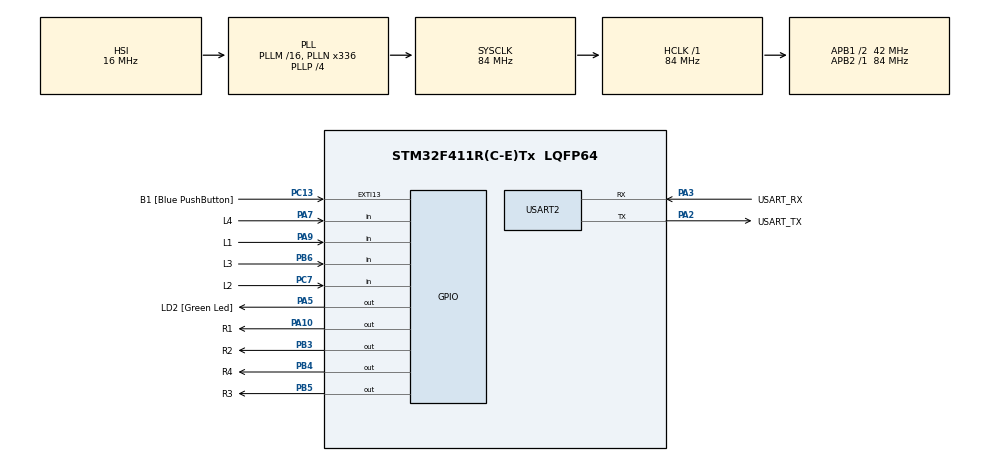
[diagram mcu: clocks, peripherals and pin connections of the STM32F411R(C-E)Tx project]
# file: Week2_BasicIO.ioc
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Mcu.Family=STM32F4
Mcu.Name=STM32F411R(C-E)Tx
Mcu.Package=LQFP64
NVIC.PriorityGroup=NVIC_PRIORITYGROUP_0
PA10.GPIO_Label=R1
PA10.GPIO_ModeDefaultOutputPP=GPIO_MODE_OUTPUT_OD
PA10.GPIO_PuPd=GPIO_NOPULL
PA10.PinState=GPIO_PIN_SET
PA10.Signal=GPIO_Output
PA13.GPIO_Label=TMS
PA13.Mode=Serial_Wire
PA13.Signal=SYS_JTMS-SWDIO
PA14.GPIO_Label=TCK
PA14.Mode=Serial_Wire
PA14.Signal=SYS_JTCK-SWCLK
PA2.GPIO_Label=USART_TX
PA2.Mode=Asynchronous
PA2.Signal=USART2_TX
PA3.GPIO_Label=USART_RX
PA3.Mode=Asynchronous
PA3.Signal=USART2_RX
PA5.GPIO_Label=LD2 [Green Led]
PA5.Signal=GPIO_Output
PA7.GPIO_Label=L4
PA7.GPIO_PuPd=GPIO_PULLUP
PA7.Signal=GPIO_Input
PA9.GPIO_Label=L1
PA9.GPIO_PuPd=GPIO_PULLUP
PA9.Signal=GPIO_Input
PB3.GPIO_Label=R2
PB3.GPIO_ModeDefaultOutputPP=GPIO_MODE_OUTPUT_OD
PB3.GPIO_PuPd=GPIO_NOPULL
PB3.PinState=GPIO_PIN_SET
PB3.Signal=GPIO_Output
PB4.GPIO_Label=R4
PB4.GPIO_ModeDefaultOutputPP=GPIO_MODE_OUTPUT_OD
PB4.GPIO_PuPd=GPIO_NOPULL
PB4.PinState=GPIO_PIN_SET
PB4.Signal=GPIO_Output
PB5.GPIO_Label=R3
PB5.GPIO_ModeDefaultOutputPP=GPIO_MODE_OUTPUT_OD
PB5.GPIO_PuPd=GPIO_NOPULL
PB5.PinState=GPIO_PIN_SET
PB5.Signal=GPIO_Output
PB6.GPIO_Label=L3
PB6.GPIO_PuPd=GPIO_PULLUP
PB6.Signal=GPIO_Input
PC13-ANTI_TAMP.GPIO_Label=B1 [Blue PushButton]
PC13-ANTI_TAMP.GPIO_ModeDefaultEXTI=GPIO_MODE_IT_FALLING
PC13-ANTI_TAMP.Signal=GPXTI13
PC14-OSC32_IN.Mode=LSE-External-Oscillator
PC14-OSC32_IN.Signal=RCC_OSC32_IN
PC15-OSC32_OUT.Mode=LSE-External-Oscillator
PC15-OSC32_OUT.Signal=RCC_OSC32_OUT
PC7.GPIO_Label=L2
PC7.GPIO_PuPd=GPIO_PULLUP
PC7.Signal=GPIO_Input
PH0\ -\ OSC_IN.Mode=HSE-External-Clock-Source
PH0\ -\ OSC_IN.Signal=RCC_OSC_IN
PH1\ -\ OSC_OUT.Mode=HSE-External-Clock-Source
PH1\ -\ OSC_OUT.Signal=RCC_OSC_OUT
ProjectManager.HeapSize=0x200
ProjectManager.StackSize=0x400
ProjectManager.TargetToolchain=STM32CubeIDE
RCC.48MHZClocksFreq_Value=84000000
RCC.AHBFreq_Value=84000000
RCC.APB1CLKDivider=RCC_HCLK_DIV2
RCC.APB1Freq_Value=42000000
RCC.APB1TimFreq_Value=84000000
RCC.APB2Freq_Value=84000000
RCC.APB2TimFreq_Value=84000000
RCC.CortexFreq_Value=84000000
RCC.FLatency-AdvancedSettings=FLASH_LATENCY_2
RCC.HCLKFreq_Value=84000000
RCC.HSE_VALUE=8000000
RCC.HSI_VALUE=16000000
RCC.PLLN=336
RCC.PLLP=RCC_PLLP_DIV4
RCC.SYSCLKFreq_VALUE=84000000
RCC.SYSCLKSource=RCC_SYSCLKSOURCE_PLLCLK
RCC.VCOOutputFreq_Value=336000000
USART2.VirtualMode=VM_ASYNC
board=NUCLEO-F411RE

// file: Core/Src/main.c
/* USER CODE BEGIN Header */
/**
  ******************************************************************************
  * @file           : main.c
  * @brief          : Main program body
  ******************************************************************************
  * @attention
  *
  * Copyright (c) 2023 STMicroelectronics.
  * All rights reserved.
  *
  * This software is licensed under terms that can be found in the LICENSE file
  * in the root directory of this software component.
  * If no LICENSE file comes with this software, it is provided AS-IS.
  *
  ******************************************************************************
  */
/* USER CODE END Header */
#include "main.h"

/* USER CODE BEGIN Includes */
#include "string.h"
/* USER CODE END Includes */

UART_HandleTypeDef huart2;

/* USER CODE BEGIN PV */
struct PortPin
{
	GPIO_TypeDef* PORT;
	uint16_t PIN;
};

struct PortPin R[4] =
{
		{GPIOA,GPIO_PIN_10},
		{GPIOB,GPIO_PIN_3},
		{GPIOB,GPIO_PIN_5},
		{GPIOB,GPIO_PIN_4}

};

struct PortPin L[4] =
{
		{GPIOA,GPIO_PIN_9},
		{GPIOC,GPIO_PIN_7},
		{GPIOB,GPIO_PIN_6},
		{GPIOA,GPIO_PIN_7}

};

struct _GPIOstate
{
	GPIO_PinState Current;
	GPIO_PinState Last;
};

struct _GPIOstate L1[16];

uint16_t ButtonMatrix = 0;
uint8_t X = 0;
uint8_t arm = 0;
uint8_t flag = 0;
char Number[11];
char ID[11] = "64340500031";

/* USER CODE END PV */

void SystemClock_Config(void);
static void MX_GPIO_Init(void);
static void MX_USART2_UART_Init(void);
/* USER CODE BEGIN PFP */
void ReadMatrixButton_1Row();
void numpad();
void Shift_numpad(char num);
/* USER CODE END PFP */

int main(void)
{

  /* MCU Configuration--------------------------------------------------------*/

  /* Reset of all peripherals, Initializes the Flash interface and the Systick. */
  HAL_Init();

  /* Configure the system clock */
  SystemClock_Config();

  /* Initialize all configured peripherals */
  MX_GPIO_Init();
  MX_USART2_UART_Init();

  /* Infinite loop */
  while (1)
  {

    /* USER CODE BEGIN 3 */
//	  L1.Current = HAL_GPIO_ReadPin(L[1].PORT, L[1].PIN);
//	  L2.Current = HAL_GPIO_ReadPin(L[2].PORT, L[2].PIN);
//	  L3.Current = HAL_GPIO_ReadPin(L[3].PORT, L[3].PIN);
//	  L4.Current = HAL_GPIO_ReadPin(L[4].PORT, L[4].PIN);

//	  uint16_t current = HAL_GPIO_ReadPin(L[1].PORT, L[1].PIN);

	  static uint32_t timestamp = 0;
	  if(HAL_GetTick()>=timestamp)
	  {
		  timestamp = HAL_GetTick() + 50;
		  ReadMatrixButton_1Row();
//		  if ( (last == 1 && current == 0)){
//			  HAL_GPIO_TogglePin(GPIOA, GPIO_PIN_5);
//		  }
//		  else
//		  {
//			  ReadMatrixButton_1Row();
//		  }
//
//		  L1.Last = L1.Current;
//		  L2.Last = L2.Current;
//		  L3.Last = L3.Current;
//		  L4.Last = L4.Current;
	  }
  }
  /* USER CODE END 3 */
}

void SystemClock_Config(void)
{
  RCC_OscInitTypeDef RCC_OscInitStruct = {0};
  RCC_ClkInitTypeDef RCC_ClkInitStruct = {0};

  /** Configure the main internal regulator output voltage
  */
  __HAL_RCC_PWR_CLK_ENABLE();
  __HAL_PWR_VOLTAGESCALING_CONFIG(PWR_REGULATOR_VOLTAGE_SCALE1);

  /** Initializes the RCC Oscillators according to the specified parameters
  * in the RCC_OscInitTypeDef structure.
  */
  RCC_OscInitStruct.OscillatorType = RCC_OSCILLATORTYPE_HSI;
  RCC_OscInitStruct.HSIState = RCC_HSI_ON;
  RCC_OscInitStruct.HSICalibrationValue = RCC_HSICALIBRATION_DEFAULT;
  RCC_OscInitStruct.PLL.PLLState = RCC_PLL_ON;
  RCC_OscInitStruct.PLL.PLLSource = RCC_PLLSOURCE_HSI;
  RCC_OscInitStruct.PLL.PLLM = 16;
  RCC_OscInitStruct.PLL.PLLN = 336;
  RCC_OscInitStruct.PLL.PLLP = RCC_PLLP_DIV4;
  RCC_OscInitStruct.PLL.PLLQ = 4;
  if (HAL_RCC_OscConfig(&RCC_OscInitStruct) != HAL_OK)
  {
    Error_Handler();
  }

  /** Initializes the CPU, AHB and APB buses clocks
  */
  RCC_ClkInitStruct.ClockType = RCC_CLOCKTYPE_HCLK|RCC_CLOCKTYPE_SYSCLK
                              |RCC_CLOCKTYPE_PCLK1|RCC_CLOCKTYPE_PCLK2;
  RCC_ClkInitStruct.SYSCLKSource = RCC_SYSCLKSOURCE_PLLCLK;
  RCC_ClkInitStruct.AHBCLKDivider = RCC_SYSCLK_DIV1;
  RCC_ClkInitStruct.APB1CLKDivider = RCC_HCLK_DIV2;
  RCC_ClkInitStruct.APB2CLKDivider = RCC_HCLK_DIV1;

  if (HAL_RCC_ClockConfig(&RCC_ClkInitStruct, FLASH_LATENCY_2) != HAL_OK)
  {
    Error_Handler();
  }
}

static void MX_USART2_UART_Init(void)
{

  huart2.Instance = USART2;
  huart2.Init.BaudRate = 115200;
  huart2.Init.WordLength = UART_WORDLENGTH_8B;
  huart2.Init.StopBits = UART_STOPBITS_1;
  huart2.Init.Parity = UART_PARITY_NONE;
  huart2.Init.Mode = UART_MODE_TX_RX;
  huart2.Init.HwFlowCtl = UART_HWCONTROL_NONE;
  huart2.Init.OverSampling = UART_OVERSAMPLING_16;
  if (HAL_UART_Init(&huart2) != HAL_OK)
  {
    Error_Handler();
  }

}

static void MX_GPIO_Init(void)
{
  GPIO_InitTypeDef GPIO_InitStruct = {0};

  /* GPIO Ports Clock Enable */
  __HAL_RCC_GPIOC_CLK_ENABLE();
  __HAL_RCC_GPIOH_CLK_ENABLE();
  __HAL_RCC_GPIOA_CLK_ENABLE();
  __HAL_RCC_GPIOB_CLK_ENABLE();

  /*Configure GPIO pin Output Level */
  HAL_GPIO_WritePin(LD2_GPIO_Port, LD2_Pin, GPIO_PIN_RESET);

  /*Configure GPIO pin Output Level */
  HAL_GPIO_WritePin(R1_GPIO_Port, R1_Pin, GPIO_PIN_SET);

  /*Configure GPIO pin Output Level */
  HAL_GPIO_WritePin(GPIOB, R2_Pin|R4_Pin|R3_Pin, GPIO_PIN_SET);

  /*Configure GPIO pin : B1_Pin */
  GPIO_InitStruct.Pin = B1_Pin;
  GPIO_InitStruct.Mode = GPIO_MODE_IT_FALLING;
  GPIO_InitStruct.Pull = GPIO_NOPULL;
  HAL_GPIO_Init(B1_GPIO_Port, &GPIO_InitStruct);

  /*Configure GPIO pin : LD2_Pin */
  GPIO_InitStruct.Pin = LD2_Pin;
  GPIO_InitStruct.Mode = GPIO_MODE_OUTPUT_PP;
  GPIO_InitStruct.Pull = GPIO_NOPULL;
  GPIO_InitStruct.Speed = GPIO_SPEED_FREQ_LOW;
  HAL_GPIO_Init(LD2_GPIO_Port, &GPIO_InitStruct);

  /*Configure GPIO pins : L4_Pin L1_Pin */
  GPIO_InitStruct.Pin = L4_Pin|L1_Pin;
  GPIO_InitStruct.Mode = GPIO_MODE_INPUT;
  GPIO_InitStruct.Pull = GPIO_PULLUP;
  HAL_GPIO_Init(GPIOA, &GPIO_InitStruct);

  /*Configure GPIO pin : L2_Pin */
  GPIO_InitStruct.Pin = L2_Pin;
  GPIO_InitStruct.Mode = GPIO_MODE_INPUT;
  GPIO_InitStruct.Pull = GPIO_PULLUP;
  HAL_GPIO_Init(L2_GPIO_Port, &GPIO_InitStruct);

  /*Configure GPIO pin : R1_Pin */
  GPIO_InitStruct.Pin = R1_Pin;
  GPIO_InitStruct.Mode = GPIO_MODE_OUTPUT_OD;
  GPIO_InitStruct.Pull = GPIO_NOPULL;
  GPIO_InitStruct.Speed = GPIO_SPEED_FREQ_LOW;
  HAL_GPIO_Init(R1_GPIO_Port, &GPIO_InitStruct);

  /*Configure GPIO pins : R2_Pin R4_Pin R3_Pin */
  GPIO_InitStruct.Pin = R2_Pin|R4_Pin|R3_Pin;
  GPIO_InitStruct.Mode = GPIO_MODE_OUTPUT_OD;
  GPIO_InitStruct.Pull = GPIO_NOPULL;
  GPIO_InitStruct.Speed = GPIO_SPEED_FREQ_LOW;
  HAL_GPIO_Init(GPIOB, &GPIO_InitStruct);

  /*Configure GPIO pin : L3_Pin */
  GPIO_InitStruct.Pin = L3_Pin;
  GPIO_InitStruct.Mode = GPIO_MODE_INPUT;
  GPIO_InitStruct.Pull = GPIO_PULLUP;
  HAL_GPIO_Init(L3_GPIO_Port, &GPIO_InitStruct);

}

/* USER CODE BEGIN 4 */
void ReadMatrixButton_1Row()
{
//	static uint8_t X = 0;
	register int i;
	for(i=0;i<4;i++)
	{
		L1[i*4 + X].Current = HAL_GPIO_ReadPin(L[i].PORT, L[i].PIN);
		if(L1[i*4 + X].Last == 1 && L1[i*4 + X].Current == 0)
		{
			arm = i*10 + X;
			numpad();

//			ButtonMatrix &= ~(1<<(X*4+i));
		}
		L1[i*4 + X].Last = L1[i*4 + X].Current;
//		else
//		{
//			ButtonMatrix |= 1<<(X*4+i);

//		}
	}

	HAL_GPIO_WritePin(R[X].PORT, R[X].PIN, 1);
	HAL_GPIO_WritePin(R[(X+1)%4].PORT, R[(X+1)%4].PIN, 0);
	X++;
	X%=4;
}

void numpad()
{
//	register int arm = 0;
	int i = 0;
		switch(arm)
		{
		case 0:
			Shift_numpad('7');

			break;

		case 1:
			Shift_numpad('8');
			break;

		case 2:
			Shift_numpad('9');
			break;

		case 10:
			Shift_numpad('4');
			break;

		case 11:
			Shift_numpad('5');
			break;

		case 12:
			Shift_numpad('6');
			break;

		case 20:
			Shift_numpad('1');
			break;

		case 21:
			Shift_numpad('2');
			break;

		case 22:
			Shift_numpad('3');
			break;

		case 30:
			Shift_numpad('0');
			break;

		case 33:
			if (!strcmp(Number, ID))
			{
				HAL_GPIO_WritePin(LD2_GPIO_Port, LD2_Pin, GPIO_PIN_SET);
			}
			else HAL_GPIO_WritePin(LD2_GPIO_Port, LD2_Pin, GPIO_PIN_RESET);
			break;
		case 3:
			for (i=0; i<11; i++)
			{
				Number[i] = '0';
			}
			HAL_GPIO_WritePin(LD2_GPIO_Port, LD2_Pin, GPIO_PIN_RESET);
			break;
		case 13:
			Shift_numpad('b');
			break;

			//	case 11:
			//		if ((HAL_GPIO_ReadPin(L[3].PORT, L[3].PIN) == 0) && X == 3)
			//		{
			//			//LED On
			//			HAL_GPIO_WritePin(GPIOA, GPIO_PIN_5, GPIO_PIN_SET);
			//			arm = 0;
			//		}
			//		else if ((HAL_GPIO_ReadPin(L[0].PORT, L[0].PIN) == 0) && X == 3)
			//		{
			//			HAL_GPIO_WritePin(GPIOA, GPIO_PIN_5, GPIO_PIN_RESET);
			//			arm = 0;
			//		}
			//		else if ((HAL_GPIO_ReadPin(L[1].PORT, L[1].PIN) == 0) && X == 3)
			//		{
			//			arm = 12;
			//		}
			//		else
			//		{
			//			arm = 11;
			//		}
			//		break;

		}

}

void Shift_numpad(char num)
{

//	if (L1.Current == 0 && L1.Last == 1 ){
		register int i;
		for (i=0; i<11; i++)
		{

			if ( num == 'b')
			{
				if (i == 10)
				{
					Number[0] = '0';
					break;
				}
				else Number[10 - i] = Number[9 - i];
			}
			else if (i == 10)
			{
				Number[10] = num;
			}
			else Number[i] = Number[i+1];
		}

//	}
//	L1.Last = L1.Current;
}

/* USER CODE END 4 */

void Error_Handler(void)
{
  __disable_irq();
  while (1)
  {
  }
}
